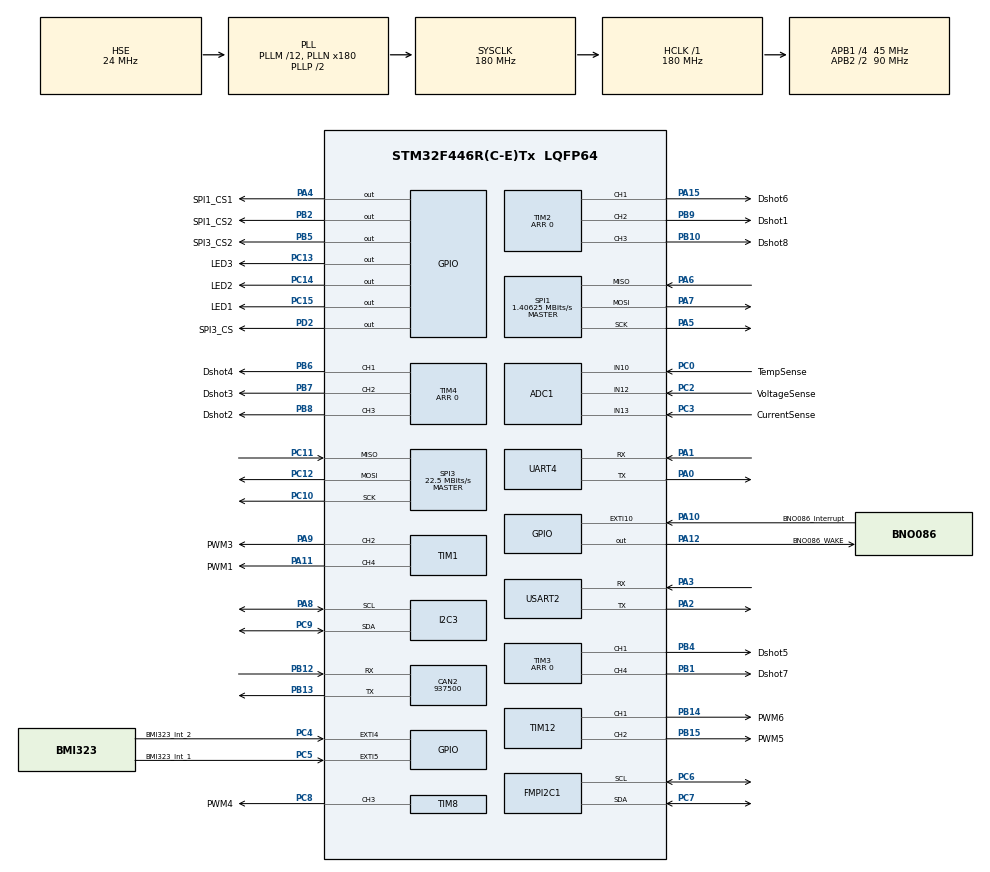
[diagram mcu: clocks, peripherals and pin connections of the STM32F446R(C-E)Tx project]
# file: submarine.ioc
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ADC1.Channel-0\#ChannelRegularConversion=ADC_CHANNEL_13
ADC1.Channel-1\#ChannelRegularConversion=ADC_CHANNEL_12
ADC1.Channel-2\#ChannelRegularConversion=ADC_CHANNEL_10
ADC1.ContinuousConvMode=ENABLE
ADC1.DMAContinuousRequests=ENABLE
ADC1.NbrOfConversion=3
ADC1.NbrOfConversionFlag=1
ADC1.Rank-0\#ChannelRegularConversion=1
ADC1.Rank-1\#ChannelRegularConversion=2
ADC1.Rank-2\#ChannelRegularConversion=3
ADC1.SamplingTime-0\#ChannelRegularConversion=ADC_SAMPLETIME_112CYCLES
ADC1.SamplingTime-1\#ChannelRegularConversion=ADC_SAMPLETIME_112CYCLES
ADC1.SamplingTime-2\#ChannelRegularConversion=ADC_SAMPLETIME_112CYCLES
ADC1.master=1
CAN2.BS1=CAN_BS1_1TQ
CAN2.BS2=CAN_BS2_1TQ
CAN2.CalculateBaudRate=937500
CAN2.CalculateTimeBit=1066
CAN2.CalculateTimeQuantum=355.55555555555554
Dma.ADC1.8.Direction=DMA_PERIPH_TO_MEMORY
Dma.ADC1.8.FIFOMode=DMA_FIFOMODE_DISABLE
Dma.ADC1.8.Instance=DMA2_Stream0
Dma.ADC1.8.MemDataAlignment=DMA_MDATAALIGN_HALFWORD
Dma.ADC1.8.MemInc=DMA_MINC_ENABLE
Dma.ADC1.8.Mode=DMA_CIRCULAR
Dma.ADC1.8.PeriphDataAlignment=DMA_PDATAALIGN_HALFWORD
Dma.ADC1.8.PeriphInc=DMA_PINC_DISABLE
Dma.ADC1.8.Priority=DMA_PRIORITY_LOW
Dma.Request0=TIM4_CH2
Dma.Request1=TIM2_CH1
Dma.Request2=TIM2_CH2/CH4
Dma.Request3=TIM3_CH1/TRIG
Dma.Request4=TIM3_CH4/UP
Dma.Request5=TIM2_UP/CH3
Dma.Request6=TIM4_CH3
Dma.Request7=TIM4_CH1
Dma.Request8=ADC1
Dma.TIM2_CH1.1.Direction=DMA_MEMORY_TO_PERIPH
Dma.TIM2_CH1.1.FIFOMode=DMA_FIFOMODE_ENABLE
Dma.TIM2_CH1.1.FIFOThreshold=DMA_FIFO_THRESHOLD_1QUARTERFULL
Dma.TIM2_CH1.1.Instance=DMA1_Stream5
Dma.TIM2_CH1.1.MemBurst=DMA_MBURST_SINGLE
Dma.TIM2_CH1.1.MemDataAlignment=DMA_MDATAALIGN_WORD
Dma.TIM2_CH1.1.MemInc=DMA_MINC_ENABLE
Dma.TIM2_CH1.1.Mode=DMA_NORMAL
Dma.TIM2_CH1.1.PeriphBurst=DMA_PBURST_SINGLE
Dma.TIM2_CH1.1.PeriphDataAlignment=DMA_PDATAALIGN_WORD
Dma.TIM2_CH1.1.PeriphInc=DMA_PINC_DISABLE
Dma.TIM2_CH1.1.Priority=DMA_PRIORITY_HIGH
Dma.TIM2_CH2/CH4.2.Direction=DMA_MEMORY_TO_PERIPH
Dma.TIM2_CH2/CH4.2.FIFOMode=DMA_FIFOMODE_ENABLE
Dma.TIM2_CH2/CH4.2.FIFOThreshold=DMA_FIFO_THRESHOLD_1QUARTERFULL
Dma.TIM2_CH2/CH4.2.Instance=DMA1_Stream6
Dma.TIM2_CH2/CH4.2.MemBurst=DMA_MBURST_SINGLE
Dma.TIM2_CH2/CH4.2.MemDataAlignment=DMA_MDATAALIGN_WORD
Dma.TIM2_CH2/CH4.2.MemInc=DMA_MINC_ENABLE
Dma.TIM2_CH2/CH4.2.Mode=DMA_NORMAL
Dma.TIM2_CH2/CH4.2.PeriphBurst=DMA_PBURST_SINGLE
Dma.TIM2_CH2/CH4.2.PeriphDataAlignment=DMA_PDATAALIGN_WORD
Dma.TIM2_CH2/CH4.2.PeriphInc=DMA_PINC_DISABLE
Dma.TIM2_CH2/CH4.2.Priority=DMA_PRIORITY_HIGH
Dma.TIM2_UP/CH3.5.Direction=DMA_MEMORY_TO_PERIPH
Dma.TIM2_UP/CH3.5.FIFOMode=DMA_FIFOMODE_ENABLE
Dma.TIM2_UP/CH3.5.FIFOThreshold=DMA_FIFO_THRESHOLD_1QUARTERFULL
Dma.TIM2_UP/CH3.5.Instance=DMA1_Stream1
Dma.TIM2_UP/CH3.5.MemBurst=DMA_MBURST_SINGLE
Dma.TIM2_UP/CH3.5.MemDataAlignment=DMA_MDATAALIGN_WORD
Dma.TIM2_UP/CH3.5.MemInc=DMA_MINC_ENABLE
Dma.TIM2_UP/CH3.5.Mode=DMA_NORMAL
Dma.TIM2_UP/CH3.5.PeriphBurst=DMA_PBURST_SINGLE
Dma.TIM2_UP/CH3.5.PeriphDataAlignment=DMA_PDATAALIGN_WORD
Dma.TIM2_UP/CH3.5.PeriphInc=DMA_PINC_DISABLE
Dma.TIM2_UP/CH3.5.Priority=DMA_PRIORITY_HIGH
Dma.TIM3_CH1/TRIG.3.Direction=DMA_MEMORY_TO_PERIPH
Dma.TIM3_CH1/TRIG.3.FIFOMode=DMA_FIFOMODE_ENABLE
Dma.TIM3_CH1/TRIG.3.FIFOThreshold=DMA_FIFO_THRESHOLD_1QUARTERFULL
Dma.TIM3_CH1/TRIG.3.Instance=DMA1_Stream4
Dma.TIM3_CH1/TRIG.3.MemBurst=DMA_MBURST_SINGLE
Dma.TIM3_CH1/TRIG.3.MemDataAlignment=DMA_MDATAALIGN_WORD
Dma.TIM3_CH1/TRIG.3.MemInc=DMA_MINC_ENABLE
Dma.TIM3_CH1/TRIG.3.Mode=DMA_NORMAL
Dma.TIM3_CH1/TRIG.3.PeriphBurst=DMA_PBURST_SINGLE
Dma.TIM3_CH1/TRIG.3.PeriphDataAlignment=DMA_PDATAALIGN_WORD
Dma.TIM3_CH1/TRIG.3.PeriphInc=DMA_PINC_DISABLE
Dma.TIM3_CH1/TRIG.3.Priority=DMA_PRIORITY_HIGH
Dma.TIM3_CH4/UP.4.Direction=DMA_MEMORY_TO_PERIPH
Dma.TIM3_CH4/UP.4.FIFOMode=DMA_FIFOMODE_ENABLE
Dma.TIM3_CH4/UP.4.FIFOThreshold=DMA_FIFO_THRESHOLD_1QUARTERFULL
Dma.TIM3_CH4/UP.4.Instance=DMA1_Stream2
Dma.TIM3_CH4/UP.4.MemBurst=DMA_MBURST_SINGLE
Dma.TIM3_CH4/UP.4.MemDataAlignment=DMA_MDATAALIGN_WORD
Dma.TIM3_CH4/UP.4.MemInc=DMA_MINC_ENABLE
Dma.TIM3_CH4/UP.4.Mode=DMA_NORMAL
Dma.TIM3_CH4/UP.4.PeriphBurst=DMA_PBURST_SINGLE
Dma.TIM3_CH4/UP.4.PeriphDataAlignment=DMA_PDATAALIGN_WORD
Dma.TIM3_CH4/UP.4.PeriphInc=DMA_PINC_DISABLE
Dma.TIM3_CH4/UP.4.Priority=DMA_PRIORITY_HIGH
Dma.TIM4_CH1.7.Direction=DMA_MEMORY_TO_PERIPH
Dma.TIM4_CH1.7.FIFOMode=DMA_FIFOMODE_ENABLE
Dma.TIM4_CH1.7.FIFOThreshold=DMA_FIFO_THRESHOLD_1QUARTERFULL
Dma.TIM4_CH1.7.Instance=DMA1_Stream0
Dma.TIM4_CH1.7.MemBurst=DMA_MBURST_SINGLE
Dma.TIM4_CH1.7.MemDataAlignment=DMA_MDATAALIGN_WORD
Dma.TIM4_CH1.7.MemInc=DMA_MINC_ENABLE
Dma.TIM4_CH1.7.Mode=DMA_NORMAL
Dma.TIM4_CH1.7.PeriphBurst=DMA_PBURST_SINGLE
Dma.TIM4_CH1.7.PeriphDataAlignment=DMA_PDATAALIGN_WORD
Dma.TIM4_CH1.7.PeriphInc=DMA_PINC_DISABLE
Dma.TIM4_CH1.7.Priority=DMA_PRIORITY_HIGH
Dma.TIM4_CH2.0.Direction=DMA_MEMORY_TO_PERIPH
Dma.TIM4_CH2.0.FIFOMode=DMA_FIFOMODE_ENABLE
Dma.TIM4_CH2.0.FIFOThreshold=DMA_FIFO_THRESHOLD_1QUARTERFULL
Dma.TIM4_CH2.0.Instance=DMA1_Stream3
Dma.TIM4_CH2.0.MemBurst=DMA_MBURST_SINGLE
Dma.TIM4_CH2.0.MemDataAlignment=DMA_MDATAALIGN_WORD
Dma.TIM4_CH2.0.MemInc=DMA_MINC_ENABLE
Dma.TIM4_CH2.0.Mode=DMA_NORMAL
Dma.TIM4_CH2.0.PeriphBurst=DMA_PBURST_SINGLE
Dma.TIM4_CH2.0.PeriphDataAlignment=DMA_PDATAALIGN_WORD
Dma.TIM4_CH2.0.PeriphInc=DMA_PINC_DISABLE
Dma.TIM4_CH2.0.Priority=DMA_PRIORITY_HIGH
Dma.TIM4_CH3.6.Direction=DMA_MEMORY_TO_PERIPH
Dma.TIM4_CH3.6.FIFOMode=DMA_FIFOMODE_ENABLE
Dma.TIM4_CH3.6.FIFOThreshold=DMA_FIFO_THRESHOLD_1QUARTERFULL
Dma.TIM4_CH3.6.Instance=DMA1_Stream7
Dma.TIM4_CH3.6.MemBurst=DMA_MBURST_SINGLE
Dma.TIM4_CH3.6.MemDataAlignment=DMA_MDATAALIGN_WORD
Dma.TIM4_CH3.6.MemInc=DMA_MINC_ENABLE
Dma.TIM4_CH3.6.Mode=DMA_NORMAL
Dma.TIM4_CH3.6.PeriphBurst=DMA_PBURST_SINGLE
Dma.TIM4_CH3.6.PeriphDataAlignment=DMA_PDATAALIGN_WORD
Dma.TIM4_CH3.6.PeriphInc=DMA_PINC_DISABLE
Dma.TIM4_CH3.6.Priority=DMA_PRIORITY_HIGH
FMPI2C1.Timeout=0x00008225
FMPI2C1.Timing=0xC0000E12
Mcu.Family=STM32F4
Mcu.Name=STM32F446R(C-E)Tx
Mcu.Package=LQFP64
NVIC.ADC_IRQn=true\:0\:0\:false\:false\:true\:true\:true\:true
NVIC.DMA1_Stream0_IRQn=true\:0\:0\:false\:false\:true\:false\:true\:true
NVIC.DMA1_Stream1_IRQn=true\:0\:0\:false\:false\:true\:false\:true\:true
NVIC.DMA1_Stream2_IRQn=true\:0\:0\:false\:false\:true\:false\:true\:true
NVIC.DMA1_Stream3_IRQn=true\:0\:0\:false\:false\:true\:false\:true\:true
NVIC.DMA1_Stream4_IRQn=true\:0\:0\:false\:false\:true\:false\:true\:true
NVIC.DMA1_Stream5_IRQn=true\:0\:0\:false\:false\:true\:false\:true\:true
NVIC.DMA1_Stream6_IRQn=true\:0\:0\:false\:false\:true\:false\:true\:true
NVIC.DMA1_Stream7_IRQn=true\:0\:0\:false\:false\:true\:false\:true\:true
NVIC.DMA2_Stream0_IRQn=true\:0\:0\:false\:false\:true\:false\:true\:true
NVIC.PriorityGroup=NVIC_PRIORITYGROUP_4
NVIC.TIM8_UP_TIM13_IRQn=true\:0\:0\:false\:false\:true\:true\:true\:true
PA0-WKUP.Mode=Asynchronous
PA0-WKUP.Signal=UART4_TX
PA1.Mode=Asynchronous
PA1.Signal=UART4_RX
PA10.GPIO_Label=BNO086_Interrupt
PA10.Signal=GPXTI10
PA11.GPIO_Label=PWM1
PA11.Signal=S_TIM1_CH4
PA12.GPIO_Label=BNO086_WAKE
PA12.Signal=GPIO_Output
PA13.Mode=Trace_Asynchronous_SW
PA13.Signal=SYS_JTMS-SWDIO
PA14.Mode=Trace_Asynchronous_SW
PA14.Signal=SYS_JTCK-SWCLK
PA15.GPIO_Label=Dshot6
PA15.Signal=S_TIM2_CH1_ETR
PA2.Mode=Asynchronous
PA2.Signal=USART2_TX
PA3.Mode=Asynchronous
PA3.Signal=USART2_RX
PA4.GPIO_Label=SPI1_CS1
PA4.Signal=GPIO_Output
PA5.Mode=Full_Duplex_Master
PA5.Signal=SPI1_SCK
PA6.Mode=Full_Duplex_Master
PA6.Signal=SPI1_MISO
PA7.Mode=Full_Duplex_Master
PA7.Signal=SPI1_MOSI
PA8.Mode=I2C
PA8.Signal=I2C3_SCL
PA9.GPIO_Label=PWM3
PA9.Signal=S_TIM1_CH2
PB1.GPIO_Label=Dshot7
PB1.Signal=S_TIM3_CH4
PB10.GPIO_Label=Dshot8
PB10.Signal=S_TIM2_CH3
PB12.Mode=CAN_Activate
PB12.Signal=CAN2_RX
PB13.Mode=CAN_Activate
PB13.Signal=CAN2_TX
PB14.GPIO_Label=PWM6
PB14.Signal=S_TIM12_CH1
PB15.GPIO_Label=PWM5
PB15.Signal=S_TIM12_CH2
PB2.GPIO_Label=SPI1_CS2
PB2.Signal=GPIO_Output
PB3.Mode=Trace_Asynchronous_SW
PB3.Signal=SYS_JTDO-SWO
PB4.GPIO_Label=Dshot5
PB4.Signal=S_TIM3_CH1
PB5.GPIO_Label=SPI3_CS2
PB5.Signal=GPIO_Output
PB6.GPIO_Label=Dshot4
PB6.Signal=S_TIM4_CH1
PB7.GPIO_Label=Dshot3
PB7.Signal=S_TIM4_CH2
PB8.GPIO_Label=Dshot2
PB8.Signal=S_TIM4_CH3
PB9.GPIO_Label=Dshot1
PB9.Signal=S_TIM2_CH2
PC0.GPIO_Label=TempSense
PC0.Signal=ADCx_IN10
PC10.Mode=Full_Duplex_Master
PC10.Signal=SPI3_SCK
PC11.Mode=Full_Duplex_Master
PC11.Signal=SPI3_MISO
PC12.Mode=Full_Duplex_Master
PC12.Signal=SPI3_MOSI
PC13.GPIO_Label=LED3
PC13.PinState=GPIO_PIN_SET
PC13.Signal=GPIO_Output
PC14-OSC32_IN.GPIO_Label=LED2
PC14-OSC32_IN.PinState=GPIO_PIN_SET
PC14-OSC32_IN.Signal=GPIO_Output
PC15-OSC32_OUT.GPIO_Label=LED1
PC15-OSC32_OUT.PinState=GPIO_PIN_SET
PC15-OSC32_OUT.Signal=GPIO_Output
PC2.GPIO_Label=VoltageSense
PC2.Signal=ADCx_IN12
PC3.GPIO_Label=CurrentSense
PC3.Signal=ADCx_IN13
PC4.GPIO_Label=BMI323_Int_2
PC4.Signal=GPXTI4
PC5.GPIO_Label=BMI323_Int_1
PC5.Signal=GPXTI5
PC6.Mode=I2C
PC6.Signal=FMPI2C1_SCL
PC7.Mode=I2C
PC7.Signal=FMPI2C1_SDA
PC8.GPIO_Label=PWM4
PC8.Signal=S_TIM8_CH3
PC9.Mode=I2C
PC9.Signal=I2C3_SDA
PD2.GPIO_Label=SPI3_CS
PD2.Signal=GPIO_Output
PH0-OSC_IN.Mode=HSE-External-Oscillator
PH0-OSC_IN.Signal=RCC_OSC_IN
PH1-OSC_OUT.Mode=HSE-External-Oscillator
PH1-OSC_OUT.Signal=RCC_OSC_OUT
ProjectManager.HeapSize=0x200
ProjectManager.StackSize=0x400
ProjectManager.TargetToolchain=STM32CubeIDE
RCC.AHBFreq_Value=180000000
RCC.APB1CLKDivider=RCC_HCLK_DIV4
RCC.APB1Freq_Value=45000000
RCC.APB1TimFreq_Value=90000000
RCC.APB2CLKDivider=RCC_HCLK_DIV2
RCC.APB2Freq_Value=90000000
RCC.APB2TimFreq_Value=180000000
RCC.CortexFreq_Value=180000000
RCC.HCLKFreq_Value=180000000
RCC.HSE_VALUE=24000000
RCC.PLLM=12
RCC.PLLN=180
RCC.PLLSAIM=12
RCC.PLLSAIN=96
RCC.PLLSAIP=RCC_PLLSAIP_DIV4
RCC.PLLSourceVirtual=RCC_PLLSOURCE_HSE
RCC.SYSCLKFreq_VALUE=180000000
RCC.SYSCLKSource=RCC_SYSCLKSOURCE_PLLCLK
RCC.USBCLockSelection=RCC_CLK48CLKSOURCE_PLLSAIP
RCC.USBFreq_Value=48000000
RCC.VCOOutputFreq_Value=360000000
SH.ADCx_IN10.0=ADC1_IN10,IN10
SH.ADCx_IN12.0=ADC1_IN12,IN12
SH.ADCx_IN13.0=ADC1_IN13,IN13
SH.S_TIM12_CH1.0=TIM12_CH1,PWM Generation1 CH1
SH.S_TIM12_CH2.0=TIM12_CH2,PWM Generation2 CH2
SH.S_TIM1_CH2.0=TIM1_CH2,PWM Generation2 CH2
SH.S_TIM1_CH4.0=TIM1_CH4,PWM Generation4 CH4
SH.S_TIM2_CH1_ETR.0=TIM2_CH1,PWM Generation1 CH1
SH.S_TIM2_CH2.0=TIM2_CH2,PWM Generation2 CH2
SH.S_TIM2_CH3.0=TIM2_CH3,PWM Generation3 CH3
SH.S_TIM3_CH1.0=TIM3_CH1,PWM Generation1 CH1
SH.S_TIM3_CH4.0=TIM3_CH4,PWM Generation4 CH4
SH.S_TIM4_CH1.0=TIM4_CH1,PWM Generation1 CH1
SH.S_TIM4_CH2.0=TIM4_CH2,PWM Generation2 CH2
SH.S_TIM4_CH3.0=TIM4_CH3,PWM Generation3 CH3
SH.S_TIM8_CH3.0=TIM8_CH3,PWM Generation3 CH3
SPI1.BaudRatePrescaler=SPI_BAUDRATEPRESCALER_64
SPI1.CalculateBaudRate=1.40625 MBits/s
SPI1.Direction=SPI_DIRECTION_2LINES
SPI1.Mode=SPI_MODE_MASTER
SPI1.VirtualType=VM_MASTER
SPI3.BaudRatePrescaler=SPI_BAUDRATEPRESCALER_2
SPI3.CalculateBaudRate=22.5 MBits/s
SPI3.Direction=SPI_DIRECTION_2LINES
SPI3.Mode=SPI_MODE_MASTER
SPI3.VirtualType=VM_MASTER
TIM1.Channel-PWM\ Generation2\ CH2=TIM_CHANNEL_2
TIM1.Channel-PWM\ Generation4\ CH4=TIM_CHANNEL_4
TIM12.Channel-PWM\ Generation1\ CH1=TIM_CHANNEL_1
TIM12.Channel-PWM\ Generation2\ CH2=TIM_CHANNEL_2
TIM13.Channel=TIM_CHANNEL_1
TIM13.Period=1000
TIM13.Prescaler=45000
TIM2.Channel-PWM\ Generation1\ CH1=TIM_CHANNEL_1
TIM2.Channel-PWM\ Generation2\ CH2=TIM_CHANNEL_2
TIM2.Channel-PWM\ Generation3\ CH3=TIM_CHANNEL_3
TIM2.Period=0
TIM3.Channel-PWM\ Generation1\ CH1=TIM_CHANNEL_1
TIM3.Channel-PWM\ Generation4\ CH4=TIM_CHANNEL_4
TIM3.Period=0
TIM4.Channel-PWM\ Generation1\ CH1=TIM_CHANNEL_1
TIM4.Channel-PWM\ Generation2\ CH2=TIM_CHANNEL_2
TIM4.Channel-PWM\ Generation3\ CH3=TIM_CHANNEL_3
TIM4.Period=0
TIM8.Channel-PWM\ Generation3\ CH3=TIM_CHANNEL_3
UART4.VirtualMode=Asynchronous
USART2.VirtualMode=VM_ASYNC
VP_TIM13_VS_ClockSourceINT.Mode=Enable_Timer
VP_TIM13_VS_no_output1.Mode=PWM Generation1 No Output
board=custom
SPI1.CLKPolarity=SPI_POLARITY_HIGH
SPI1.CLKPhase=SPI_PHASE_2EDGE
PA4.PinState=GPIO_PIN_SET
PB2.PinState=GPIO_PIN_SET
PA12.PinState=GPIO_PIN_SET
PA10.GPIO_ModeDefaultEXTI=GPIO_MODE_IT_FALLING
PA10.GPIO_PuPd=GPIO_PULLUP

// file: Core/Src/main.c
/* USER CODE BEGIN Header */
/**
  ******************************************************************************
  * @file           : main.c
  * @brief          : Main program body
  ******************************************************************************
  * @attention
  *
  * Copyright (c) 2026 STMicroelectronics.
  * All rights reserved.
  *
  * This software is licensed under terms that can be found in the LICENSE file
  * in the root directory of this software component.
  * If no LICENSE file comes with this software, it is provided AS-IS.
  *
  ******************************************************************************
  */
/* USER CODE END Header */
#include "main.h"
#include "adc.h"
#include "can.h"
#include "dma.h"
#include "fmpi2c.h"
#include "i2c.h"
#include "spi.h"
#include "tim.h"
#include "usart.h"
#include "gpio.h"

/* USER CODE BEGIN Includes */
#include "dshot.h"
#include "real_main.h"
/* USER CODE END Includes */

void SystemClock_Config(void);

/* USER CODE BEGIN 0 */

uint16_t adcBuffer[3];

uint16_t currentSenseRaw, voltageSenseRaw, tempSenseRaw;

float currentSense, voltageSense, tempSense;

const float currentSenseScale = 3.3 / (1 << 12) / 200 / 0.0003 * (4.99 / 8.6); // (4.99 / 8.6) correction value because it wasn't cooperating

float currentFiltered = 0;

void HAL_TIM_PeriodElapsedCallback(TIM_HandleTypeDef *htim) {
	if (htim == &htim13) {
		HAL_GPIO_TogglePin(LED1_GPIO_Port, LED1_Pin);
	}
}

// 8 motor value
uint16_t my_motor_value[8] = { 0, 0, 0, 0, 0, 0, 0, 0 };
uint16_t motorValue = 0;

float motorValueFloat = 0;

float clamp(float input, float min, float max) {
	if (input > max) {
		return max;
	}
	if (input < min) {
		return min;
	}
	return input;
}
int clampInt(int input, int min, int max) {
	if (input > max) {
		return max;
	}
	if (input < min) {
		return min;
	}
	return input;
}
uint16_t motorValueFromFloat(float motorPower) {
	motorPower = clamp(motorPower, -1, 1);

	if (motorPower < 0) {
		return clampInt((-motorPower) * 1000 + 48, 48, 1047);
	}

	return clampInt(motorPower * 1000 + 1048, 1048, 2048);
}

int throttle = 0;

/* USER CODE END 0 */

int main(void)
{

  /* MCU Configuration--------------------------------------------------------*/

  /* Reset of all peripherals, Initializes the Flash interface and the Systick. */
  HAL_Init();

  /* Configure the system clock */
  SystemClock_Config();

  /* Initialize all configured peripherals */
  MX_GPIO_Init();
  MX_DMA_Init();
  MX_SPI1_Init();
  MX_SPI3_Init();
  MX_UART4_Init();
  MX_USART2_UART_Init();
  MX_TIM2_Init();
  MX_TIM3_Init();
  MX_TIM4_Init();
  MX_CAN2_Init();
  MX_FMPI2C1_Init();
  MX_I2C3_Init();
  MX_TIM1_Init();
  MX_TIM8_Init();
  MX_TIM12_Init();
  MX_ADC1_Init();
  MX_TIM13_Init();
  /* USER CODE BEGIN 2 */

	HAL_ADC_Start_DMA(&hadc1, (uint32_t*) &adcBuffer, 3);

	HAL_TIM_Base_Start_IT(&htim13);

	dshot_init(DSHOT600);

  /* USER CODE END 2 */

  /* Infinite loop */
  /* USER CODE BEGIN WHILE */
  while (1)
  {
	  	real_main();

	  	/*
		currentSenseRaw = adcBuffer[0];
		currentSense = currentSenseRaw * currentSenseScale;

		currentFiltered = currentFiltered * 0.99 + currentSense * 0.01;

		motorValue = motorValueFromFloat(motorValueFloat);

		my_motor_value[0] = motorValue;
		my_motor_value[1] = motorValue;
		my_motor_value[2] = motorValue;
		my_motor_value[3] = motorValue;

		my_motor_value[4] = motorValue;
		my_motor_value[5] = motorValue;
		my_motor_value[6] = motorValue;
		my_motor_value[7] = motorValue;

		dshot_write(my_motor_value);
		*/

		HAL_Delay(1);

    /* USER CODE END WHILE */

  }
}

void SystemClock_Config(void)
{
  RCC_OscInitTypeDef RCC_OscInitStruct = {0};
  RCC_ClkInitTypeDef RCC_ClkInitStruct = {0};

  /** Configure the main internal regulator output voltage
  */
  __HAL_RCC_PWR_CLK_ENABLE();
  __HAL_PWR_VOLTAGESCALING_CONFIG(PWR_REGULATOR_VOLTAGE_SCALE1);

  /** Initializes the RCC Oscillators according to the specified parameters
  * in the RCC_OscInitTypeDef structure.
  */
  RCC_OscInitStruct.OscillatorType = RCC_OSCILLATORTYPE_HSE;
  RCC_OscInitStruct.HSEState = RCC_HSE_ON;
  RCC_OscInitStruct.PLL.PLLState = RCC_PLL_ON;
  RCC_OscInitStruct.PLL.PLLSource = RCC_PLLSOURCE_HSE;
  RCC_OscInitStruct.PLL.PLLM = 12;
  RCC_OscInitStruct.PLL.PLLN = 180;
  RCC_OscInitStruct.PLL.PLLP = RCC_PLLP_DIV2;
  RCC_OscInitStruct.PLL.PLLQ = 2;
  RCC_OscInitStruct.PLL.PLLR = 2;
  if (HAL_RCC_OscConfig(&RCC_OscInitStruct) != HAL_OK)
  {
    Error_Handler();
  }

  /** Activate the Over-Drive mode
  */
  if (HAL_PWREx_EnableOverDrive() != HAL_OK)
  {
    Error_Handler();
  }

  /** Initializes the CPU, AHB and APB buses clocks
  */
  RCC_ClkInitStruct.ClockType = RCC_CLOCKTYPE_HCLK|RCC_CLOCKTYPE_SYSCLK
                              |RCC_CLOCKTYPE_PCLK1|RCC_CLOCKTYPE_PCLK2;
  RCC_ClkInitStruct.SYSCLKSource = RCC_SYSCLKSOURCE_PLLCLK;
  RCC_ClkInitStruct.AHBCLKDivider = RCC_SYSCLK_DIV1;
  RCC_ClkInitStruct.APB1CLKDivider = RCC_HCLK_DIV4;
  RCC_ClkInitStruct.APB2CLKDivider = RCC_HCLK_DIV2;

  if (HAL_RCC_ClockConfig(&RCC_ClkInitStruct, FLASH_LATENCY_5) != HAL_OK)
  {
    Error_Handler();
  }
}

void Error_Handler(void)
{
  __disable_irq();
  while (1)
  {
  }
}
